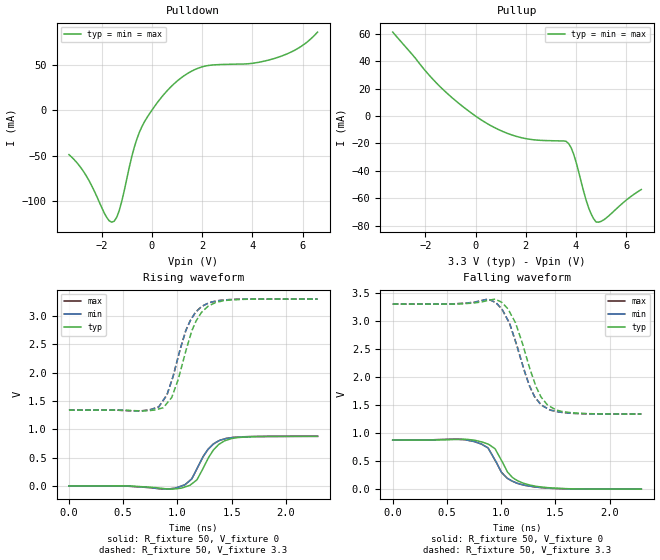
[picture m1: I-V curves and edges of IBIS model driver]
| IBIS file ex2_skewp_tr100ps.ibs created by PYS2IBIS3
| Missouri S&T EMC Lab
[IBIS Ver] 7.1
[File Name] ex2_skewp_tr100ps.ibs
[File Rev] 1.0
[Date] July 28, 2026
[Source] ex2 variant 'skewp' -- output PMOS at half width
[Notes] Parameter selection; sim_time=2.292e-09, tr=tf=1.000e-10.
[Disclaimer] Experimental characterization for pybis observability study.
[Component] MCM Driver 1
[Manufacturer] MegaFLOPS Inc.
[Package]
| variable   typ   min   max
R_pkg 0 NA NA
L_pkg 0H NA NA
C_pkg 0F NA NA
[Pin]  signal_name   model_name   R_pin   L_pin   C_pin
vdd   vdd   POWER
gnd   gnd   GND
| in in dummy
out   out   driver
| End of Component
| Models and submodels in the file (1): driver (Output)
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[Model] driver
Model_type Output
Polarity Non-Inverting
Enable Active-Low
Vinl  = 0.8V
Vinh  = 2V
C_comp 5.0000pF 5.0000pF 5.0000pF
[Temperature Range] 27.0000 27.0000 27.0000
[Voltage Range] 3.3000V 3.3000V 3.3000V
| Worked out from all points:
|   slope of the pulldown table from 0 to 0.495 V, typ, clamps not added: 27.4 ohm
|   slope of the pullup table from 0 to 0.495 V, typ, clamps not added: 85.1 ohm
|   rising waveform, R_fixture 50, V_fixture 0: 20-80 % time 165ps typ, 165ps min, 165ps max; typ from 0 V to 0.876 V
|   rising waveform, R_fixture 50, V_fixture 3.3: 20-80 % time 191ps typ, 190ps min, 190ps max; typ from 1.34 V to 3.3 V
|   falling waveform, R_fixture 50, V_fixture 0: 20-80 % time 180ps typ, 183ps min, 183ps max; typ from 0.876 V to 0 V
|   falling waveform, R_fixture 50, V_fixture 3.3: 20-80 % time 202ps typ, 202ps min, 202ps max; typ from 3.3 V to 1.34 V
[Pulldown]
| Voltage   I(typ)   I(min)   I(max)
-3.3V     -48.93mA   -48.93mA   -48.93mA
-2.6V     -72.86mA   -72.86mA   -72.86mA
-1.8V     -118.2mA   -118.2mA   -118.2mA
-1.5V     -122.5mA   -122.5mA   -122.5mA
-1.3V     -110.9mA   -110.9mA   -110.9mA
-800mV    -51.3mA    -51.3mA    -51.3mA
-500mV    -24.59mA   -24.59mA   -24.59mA
100mV     4.004mA    4.004mA    4.004mA
900mV     29.68mA    29.68mA    29.68mA
2.1V      48.76mA    48.76mA    48.76mA
5.1V      59.31mA    59.31mA    59.31mA
6.6V      86.45mA    86.45mA    86.45mA
[Pullup]
| Voltage   I(typ)   I(min)   I(max)
-3.3V     61.37mA    61.37mA    61.37mA
-1.4V     21.26mA    21.26mA    21.26mA
-600mV    8.306mA    8.306mA    8.306mA
300mV     -3.662mA   -3.662mA   -3.662mA
1.7V      -15.2mA    -15.2mA    -15.2mA
3.6V      -18.41mA   -18.41mA   -18.41mA
3.7V      -19.94mA   -19.94mA   -19.94mA
3.9V      -27.54mA   -27.54mA   -27.54mA
4.5V      -66.93mA   -66.93mA   -66.93mA
4.8V      -77.41mA   -77.41mA   -77.41mA
5.1V      -75.86mA   -75.86mA   -75.86mA
6.6V      -53.64mA   -53.64mA   -53.64mA
[Ramp]
| variable   typ   min   max
dV/dt_r 0.5257/0.1655n 0.5258/0.1649n 0.5258/0.1649n
dV/dt_f 1.1766/0.2023n 1.1766/0.2021n 1.1766/0.2021n
R_load = 50
[Rising Waveform]
R_fixture = 50
V_fixture = 0
|time   V(typ)   V(min)   V(max)
0s        3.917nV    3.917nV    3.917nV
901.8ps   -51.15mV   -56.38mV   -56.38mV
1.03ns    -42.44mV   -6.095mV   -6.095mV
1.131ns   35.13mV    122.9mV    122.9mV
1.179ns   106.9mV    300.6mV    300.6mV
1.28ns    477.2mV    642.5mV    642.5mV
1.386ns   739.1mV    802.4mV    802.4mV
1.492ns   834.1mV    851.7mV    851.7mV
1.625ns   865.4mV    869.3mV    869.3mV
2.292ns   876.2mV    876.3mV    876.3mV
[Rising Waveform]
R_fixture = 50
V_fixture = 3.3
|time   V(typ)   V(min)   V(max)
0s        1.338V     1.338V     1.338V
674.6ps   1.325V     1.327V     1.327V
826ps     1.358V     1.394V     1.394V
869.6ps   1.381V     1.513V     1.513V
949.9ps   1.574V     1.874V     1.874V
1.115ns   2.629V     2.907V     2.907V
1.173ns   2.915V     3.076V     3.076V
1.292ns   3.183V     3.236V     3.236V
1.494ns   3.286V     3.291V     3.291V
2.292ns   3.3V       3.3V       3.3V
[Falling Waveform]
R_fixture = 50
V_fixture = 0
|time   V(typ)   V(min)   V(max)
0s        876.4mV    876.4mV    876.4mV
651.7ps   891.2mV    885.3mV    885.3mV
816.9ps   846.2mV    805.7mV    805.7mV
878.8ps   804.3mV    735.2mV    735.2mV
943.1ps   721.3mV    521mV      521mV
1.049ns   338.6mV    205.9mV    205.9mV
1.104ns   208.8mV    142.5mV    142.5mV
1.2ns     108.8mV    75.49mV    75.49mV
1.482ns   18.16mV    13.01mV    13.01mV
2.292ns   129.4uV    78.58uV    78.58uV
[Falling Waveform]
R_fixture = 50
V_fixture = 3.3
|time   V(typ)   V(min)   V(max)
0s        3.3V       3.3V       3.3V
878.8ps   3.366V     3.389V     3.389V
945.4ps   3.387V     3.332V     3.332V
1.062ns   3.214V     3.011V     3.011V
1.131ns   2.97V      2.642V     2.642V
1.262ns   2.159V     1.837V     1.837V
1.37ns    1.637V     1.5V       1.5V
1.425ns   1.503V     1.438V     1.438V
1.567ns   1.382V     1.367V     1.367V
2.292ns   1.339V     1.339V     1.339V
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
